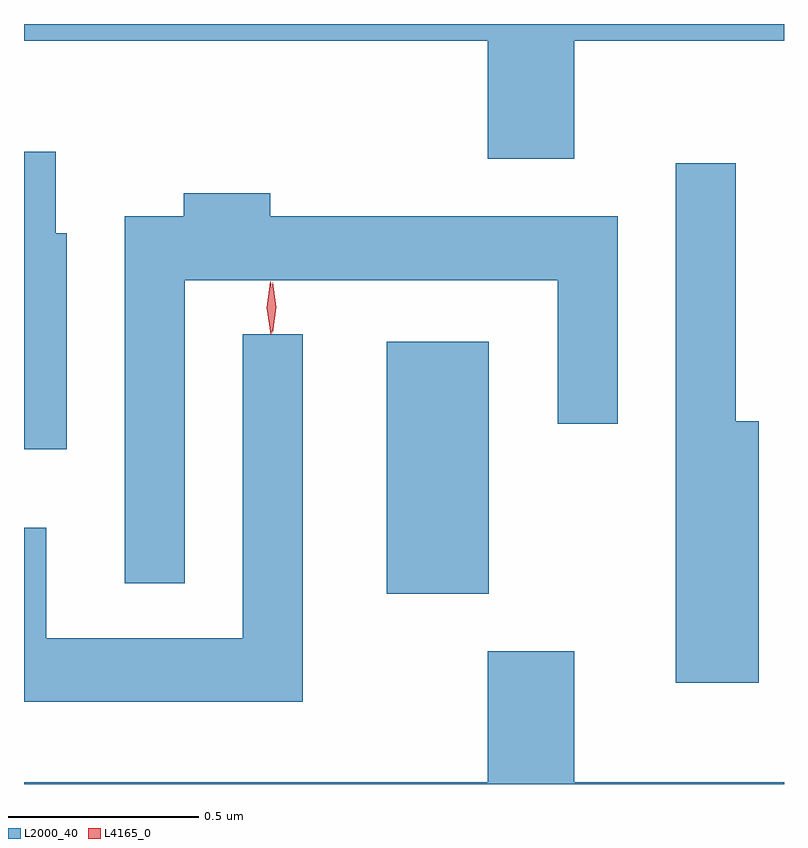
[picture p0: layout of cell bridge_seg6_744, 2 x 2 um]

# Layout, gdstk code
import gdstk
lib = gdstk.Library(unit=1e-6, precision=1e-09)
def R(c, l, rs):  # rectangles x0, y0, x1, y1
    for r in rs: c.add(gdstk.rectangle(r[:2], r[2:], *l))
def P(c, l, *ps):  # polygons
    for p in ps: c.add(gdstk.Polygon(p, *l))
L2000_40 = (2000, 40)
L4165_0 = (4165, 0)

bridge_seg6_744 = lib.new_cell('bridge_seg6_744')
R(bridge_seg6_744, L2000_40, [(311.086,1581.881,311.354,1582.544)])
P(bridge_seg6_744, L2000_40, [(311.579,1583.336),(312.131,1583.336),(312.131,1583.38),(310.131,1583.38),(310.131,1583.336),(311.351,1583.336),(311.351,1583.026),(311.579,1583.026)],
  [(310.244,1582.829),(310.214,1582.829),(310.214,1583.044),(310.131,1583.044),(310.131,1582.261),(310.244,1582.261)],
  [(312.064,1582.334),(312.004,1582.334),(312.004,1583.013),(311.846,1583.013),(311.846,1581.646),(312.064,1581.646)],
  [(310.554,1582.706),(311.536,1582.706),(311.536,1582.328),(311.694,1582.328),(311.694,1582.874),(310.779,1582.874),(310.779,1582.934),(310.551,1582.934),(310.551,1582.874),(310.396,1582.874),(310.396,1581.908),(310.554,1581.908)],
  [(310.864,1582.563),(310.706,1582.563),(310.706,1581.764),(310.189,1581.764),(310.189,1582.054),(310.131,1582.054),(310.131,1581.596),(310.864,1581.596)],
  [(312.131,1581.384),(311.579,1581.384),(311.579,1581.729),(311.351,1581.729),(311.351,1581.384),(310.131,1581.384),(310.131,1581.38),(312.131,1581.38)])
P(bridge_seg6_744, L4165_0, [(310.785,1582.567),(310.785,1582.568),(310.775,1582.634),(310.785,1582.7),(310.785,1582.701),(310.786,1582.7),(310.795,1582.634),(310.786,1582.568)],
  [(310.78,1582.563),(310.78,1582.564),(310.77,1582.633),(310.779,1582.702),(310.78,1582.703),(310.78,1582.702),(310.79,1582.633),(310.781,1582.564)])

lib.write_gds('bridge_seg6_744.gds')
